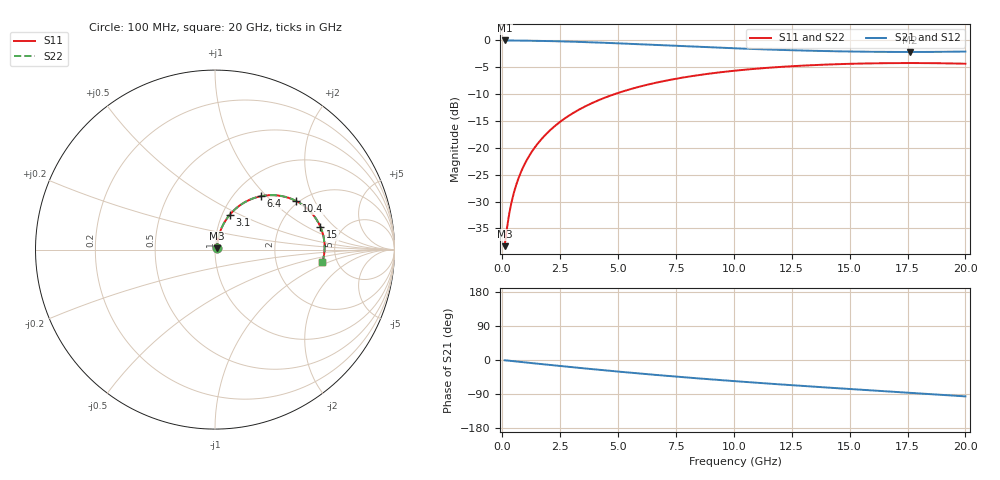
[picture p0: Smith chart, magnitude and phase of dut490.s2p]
! Touchstone file exported from HFSS 2026.1.0
!  File:  C:/ffzhzh/LocalFiles/Ansys_Project_Files/temp_train_TSV_RDL_490_1783105661_50312.aedt
!  Generated:  03:19:33 AM Jul  4, 2026
!  Design:  TSV_RDL
!  Project:  temp_train_TSV_RDL_490_1783105661_50312
! Variables:
!  h_bsmrdl = 3.2um
!  h_ox = 20um
!  h_rdl = 5um
!  h_sub = 62.32um
!  h_tmrdl = 3.74um
!  h_tsv = 62.32um
!  h_via = 3um
!  l_bsmrdl = 195.92um
!  l_sub = 1685.88um
!  l_tmrdl = 151.94um
!  m_sub = 200um
!  pitch = 56.55um
!  r_tsv = 8.81um
!  s_tmrdl = 10um
!  w_bsmrdl = 15.89um
!  w_sub = 500um
!  w_tmrdl = 14.23um
!  x_tsv_center1 = 159.055um
!  x_tsv_center2 = 370.865um
!  x_tsv_center3 = 537.035um
!  x_tsv_center4 = 748.845um
!  x_tsv_center5 = 915.015um
!  x_tsv_center6 = 1126.825um
# GHz S MA R 50.000000
! Terminal data exported
! Port[1] = TM_RDL1_1_T1
! Port[2] = TM_RDL5_1_T1
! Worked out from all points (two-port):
!   200 points, 100 MHz to 20 GHz, reference 50 ohm
!   highest |S21| = -0.08 dB at 100 MHz (marker M1); lowest = -2.2 dB at 17.6 GHz (marker M2)
!   |S21| within 3 dB of the highest: start of sweep to end of sweep
!   lowest |S11| = -38.3 dB at 100 MHz (marker M3), VSWR 1.02, Z = 51 + j0.752 ohm
!   |S11| at or under -10 dB: start of sweep to 4.884 GHz
!   |S22| runs from -38.3 to -4.3 dB; largest |S21 - S12| = 4.6e-15
!   S11 on the Smith chart (normalised r, x): 100 MHz: 1.02, +0.02; 3.1 GHz: 1.09, +0.44; 6.4 GHz: 1.31, +0.92; 10.4 GHz: 1.94, +1.45; 15 GHz: 3.43, +1.36; 20 GHz: 3.82, -0.86
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0.1  0.01219 37.3  0.9904 -0.7  0.9904 -0.7  0.01219 37.3
! Gamma 0 0 0 0
! Port Impedance 50 0 50 0
0.2  0.01784 55.5  0.9901 -1.3  0.9901 -1.3  0.01784 55.5
0.3  0.02442 63.9  0.9898 -2.0  0.9898 -2.0  0.02442 63.9
0.5  0.0382 70.8  0.9888 -3.3  0.9888 -3.3  0.0382 70.8
0.7  0.05208 73.3  0.9878 -4.5  0.9878 -4.5  0.05208 73.3
1  0.07283 74.5  0.986 -6.4  0.986 -6.4  0.07283 74.5
1.4  0.1003 74.2  0.9831 -9.0  0.9831 -9.0  0.1003 74.2
1.9  0.1343 72.6  0.9786 -12.1  0.9786 -12.1  0.1343 72.6
2.5  0.174 69.9  0.9719 -15.8  0.9719 -15.8  0.174 69.9
3.1  0.2124 66.9  0.9637 -19.5  0.9637 -19.5  0.2124 66.9
3.5  0.2371 64.8  0.9577 -21.9  0.9577 -21.9  0.2371 64.8
4.8  0.3117 57.8  0.9352 -29.4  0.9352 -29.4  0.3117 57.8
6.4  0.3907 49.5  0.9043 -38.1  0.9043 -38.1  0.3907 49.5
6.8  0.4082 47.5  0.8964 -40.2  0.8964 -40.2  0.4082 47.5
8.4  0.4695 39.7  0.8657 -48.2  0.8657 -48.2  0.4695 39.7
10.1  0.5205 32.0  0.8363 -56.1  0.8363 -56.1  0.5205 32.0
10.4  0.5281 30.7  0.8316 -57.5  0.8316 -57.5  0.5281 30.7
13.4  0.5842 18.3  0.7941 -70.2  0.7941 -70.2  0.5842 18.3
15  0.601 12.1  0.7819 -76.5  0.7819 -76.5  0.601 12.1
16.7  0.6099 5.7  0.7753 -83.2  0.7753 -83.2  0.6099 5.7
17.6  0.6111 2.3  0.7745 -86.6  0.7745 -86.6  0.6111 2.3
20  0.6022 -6.8  0.7812 -96.0  0.7812 -96.0  0.6022 -6.8
